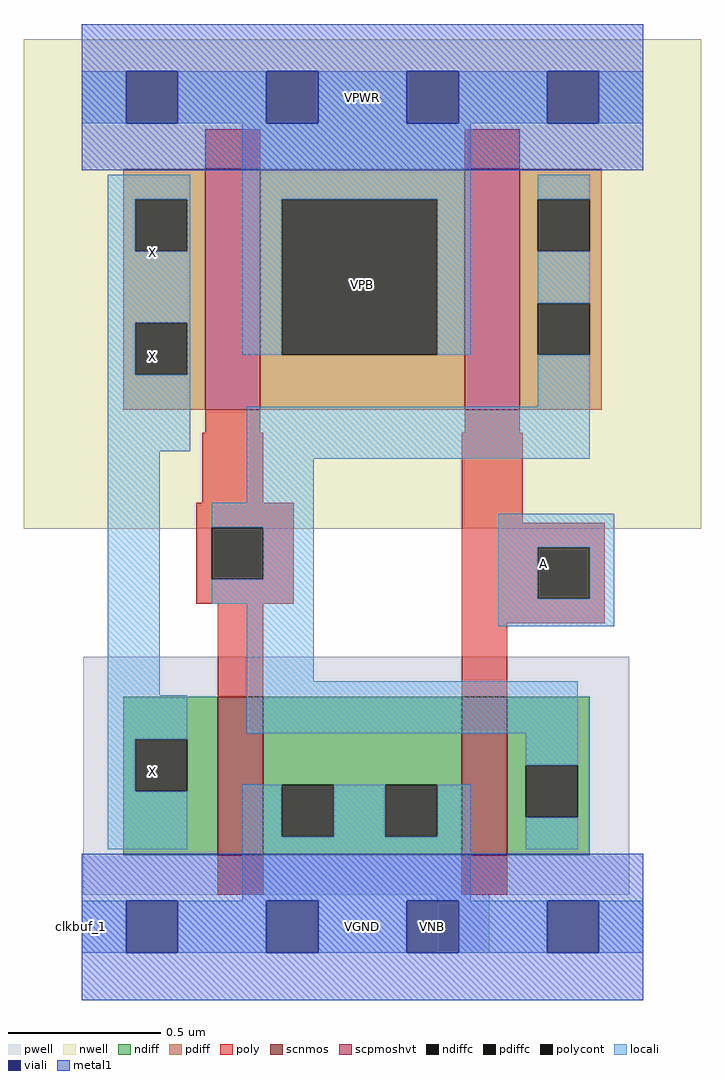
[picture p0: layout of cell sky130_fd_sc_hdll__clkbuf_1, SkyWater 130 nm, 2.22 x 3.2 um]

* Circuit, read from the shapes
.subckt sky130_fd_sc_hdll__clkbuf_1 A VGND VNB VPB VPWR X
XM1 VGND n1 X VNB sky130_fd_pr__nfet_01v8 w=0.52 l=0.15
XM2 n1 A VGND VNB sky130_fd_pr__nfet_01v8 w=0.52 l=0.15
XM3 VPWR n1 X VPB sky130_fd_pr__pfet_01v8_hvt w=0.79 l=0.18
XM4 n1 A VPWR VPB sky130_fd_pr__pfet_01v8_hvt w=0.79 l=0.18
.ends

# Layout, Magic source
magic
tech sky130A
magscale 1 2
<< nwell >>
rect -38 261 406 582
<< pwell >>
rect 1 21 359 177
rect 233 -17 267 21
<< scnmos >>
rect 89 47 119 151
rect 249 47 279 151
<< scpmoshvt >>
rect 81 339 117 497
rect 251 339 287 497
<< ndiff >>
rect 27 123 89 151
rect 27 89 35 123
rect 69 89 89 123
rect 27 47 89 89
rect 119 93 249 151
rect 119 59 131 93
rect 165 59 199 93
rect 233 59 249 93
rect 119 47 249 59
rect 279 106 333 151
rect 279 72 291 106
rect 325 72 333 106
rect 279 47 333 72
<< pdiff >>
rect 27 477 81 497
rect 27 443 35 477
rect 69 443 81 477
rect 27 396 81 443
rect 27 362 35 396
rect 69 362 81 396
rect 27 339 81 362
rect 117 477 251 497
rect 117 375 131 477
rect 233 375 251 477
rect 117 339 251 375
rect 287 477 341 497
rect 287 443 299 477
rect 333 443 341 477
rect 287 409 341 443
rect 287 375 299 409
rect 333 375 341 409
rect 287 339 341 375
<< ndiffc >>
rect 35 89 69 123
rect 131 59 165 93
rect 199 59 233 93
rect 291 72 325 106
<< pdiffc >>
rect 35 443 69 477
rect 35 362 69 396
rect 131 375 233 477
rect 299 443 333 477
rect 299 375 333 409
<< poly >>
rect 81 497 117 523
rect 251 497 287 523
rect 81 324 117 339
rect 251 324 287 339
rect 79 278 119 324
rect 75 262 139 278
rect 75 228 85 262
rect 119 228 139 262
rect 75 212 139 228
rect 249 265 289 324
rect 249 249 343 265
rect 249 215 299 249
rect 333 215 343 249
rect 89 151 119 212
rect 249 199 343 215
rect 249 151 279 199
rect 89 21 119 47
rect 249 21 279 47
<< polycont >>
rect 85 228 119 262
rect 299 215 333 249
<< locali >>
rect 0 527 29 561
rect 63 527 121 561
rect 155 527 213 561
rect 247 527 305 561
rect 339 527 368 561
rect 17 477 71 493
rect 17 443 35 477
rect 69 443 71 477
rect 17 396 71 443
rect 17 362 35 396
rect 69 362 71 396
rect 105 477 255 527
rect 105 375 131 477
rect 233 375 255 477
rect 299 477 333 493
rect 299 409 333 443
rect 17 312 71 362
rect 299 341 333 375
rect 17 152 51 312
rect 108 307 333 341
rect 108 278 152 307
rect 85 262 152 278
rect 119 228 152 262
rect 85 212 152 228
rect 108 161 152 212
rect 273 249 349 271
rect 273 215 299 249
rect 333 215 349 249
rect 273 197 349 215
rect 17 123 69 152
rect 108 127 325 161
rect 17 89 35 123
rect 291 106 325 127
rect 17 51 69 89
rect 105 59 131 93
rect 165 59 199 93
rect 233 59 255 93
rect 105 17 255 59
rect 291 51 325 72
rect 0 -17 29 17
rect 63 -17 121 17
rect 155 -17 213 17
rect 247 -17 305 17
rect 339 -17 368 17
<< viali >>
rect 29 527 63 561
rect 121 527 155 561
rect 213 527 247 561
rect 305 527 339 561
rect 29 -17 63 17
rect 121 -17 155 17
rect 213 -17 247 17
rect 305 -17 339 17
<< metal1 >>
rect 0 561 368 592
rect 0 527 29 561
rect 63 527 121 561
rect 155 527 213 561
rect 247 527 305 561
rect 339 527 368 561
rect 0 496 368 527
rect 0 17 368 48
rect 0 -17 29 17
rect 63 -17 121 17
rect 155 -17 213 17
rect 247 -17 305 17
rect 339 -17 368 17
rect 0 -48 368 -17
<< labels >>
flabel metal1 s 0 -48 368 48 0 FreeSans 200 180 0 0 VGND
port 2 nsew ground bidirectional
flabel metal1 s 0 496 368 592 0 FreeSans 200 180 0 0 VPWR
port 5 nsew power bidirectional
flabel locali s 29 85 63 119 0 FreeSans 200 180 0 0 X
port 6 nsew signal output
flabel locali s 29 357 63 391 0 FreeSans 200 180 0 0 X
port 6 nsew signal output
flabel locali s 29 425 63 459 0 FreeSans 200 180 0 0 X
port 6 nsew signal output
flabel locali s 286 221 320 255 0 FreeSans 200 180 0 0 A
port 1 nsew signal input
flabel nwell s -38 261 406 582 0 FreeSans 200 180 0 0 VPB
port 4 nsew power bidirectional
flabel pwell s 230 0 230 0 0 FreeSans 200 180 0 0 VNB
port 3 nsew default input
rlabel comment s 0 0 0 0 4 clkbuf_1
<< properties >>
string LEFsite unithd
string LEFclass CORE
string FIXED_BBOX 0 0 368 544
string GDS_FILE $PDKPATH/libs.ref/sky130_fd_sc_hdll/gds/sky130_fd_sc_hdll.gds
string LEFsymmetry X Y R90
string GDS_END 1235088
string GDS_START 1230986
string LEFproperties maskLayoutSubType "abstract" prCellType "standard" originalViewName "layout"
<< end >>
